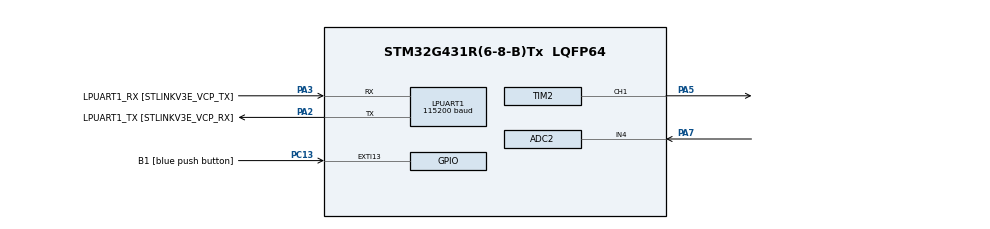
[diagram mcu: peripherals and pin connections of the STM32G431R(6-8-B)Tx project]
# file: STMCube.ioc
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ADC2.Channel-3\#ChannelRegularConversion=ADC_CHANNEL_4
ADC2.ExternalTrigConv=ADC_EXTERNALTRIG_T1_TRGO2
ADC2.NbrOfConversion=1
ADC2.NbrOfConversionFlag=1
ADC2.OffsetNumber-3\#ChannelRegularConversion=ADC_OFFSET_NONE
ADC2.Rank-3\#ChannelRegularConversion=1
ADC2.SamplingTime-3\#ChannelRegularConversion=ADC_SAMPLETIME_2CYCLES_5
FREERTOS.Tasks01=defaultTask,0,128,StartDefaultTask,Default,NULL,Dynamic,NULL,NULL
LPUART1.BaudRate=115200
LPUART1.WordLength=UART_WORDLENGTH_8B
Mcu.Family=STM32G4
Mcu.Name=STM32G431R(6-8-B)Tx
Mcu.Package=LQFP64
NVIC.ADC1_2_IRQn=true\:5\:0\:false\:false\:true\:true\:true\:true\:true
NVIC.PriorityGroup=NVIC_PRIORITYGROUP_4
PA13.GPIO_Label=T_SWDIO
PA13.Mode=Serial_Wire
PA13.Signal=SYS_JTMS-SWDIO
PA14.GPIO_Label=T_SWCLK
PA14.Mode=Serial_Wire
PA14.Signal=SYS_JTCK-SWCLK
PA2.GPIO_Label=LPUART1_TX [STLINKV3E_VCP_RX]
PA2.Mode=Asynchronous
PA2.Signal=LPUART1_TX
PA3.GPIO_Label=LPUART1_RX [STLINKV3E_VCP_TX]
PA3.Mode=Asynchronous
PA3.Signal=LPUART1_RX
PA5.Signal=S_TIM2_CH1
PA7.Mode=IN4-Single-Ended
PA7.Signal=ADC2_IN4
PB3.GPIO_Label=T_SWO
PB3.Signal=SYS_JTDO-SWO
PC13.GPIO_Label=B1 [blue push button]
PC13.Signal=GPXTI13
PC14-OSC32_IN.Mode=LSE-External-Oscillator
PC14-OSC32_IN.Signal=RCC_OSC32_IN
PC15-OSC32_OUT.Mode=LSE-External-Oscillator
PC15-OSC32_OUT.Signal=RCC_OSC32_OUT
PF0-OSC_IN.Mode=HSE-External-Oscillator
PF0-OSC_IN.Signal=RCC_OSC_IN
PF1-OSC_OUT.Mode=HSE-External-Oscillator
PF1-OSC_OUT.Signal=RCC_OSC_OUT
ProjectManager.HeapSize=0x200
ProjectManager.StackSize=0x400
ProjectManager.TargetToolchain=STM32CubeIDE
RCC.ADC12Freq_Value=170000000
RCC.AHBFreq_Value=170000000
RCC.APB1Freq_Value=170000000
RCC.APB1TimFreq_Value=170000000
RCC.APB2Freq_Value=170000000
RCC.APB2TimFreq_Value=170000000
RCC.CortexFreq_Value=170000000
RCC.EXTERNAL_CLOCK_VALUE=12288000
RCC.HCLKFreq_Value=170000000
RCC.HSE_VALUE=24000000
RCC.HSI48_VALUE=48000000
RCC.HSI_VALUE=16000000
RCC.PLLM=RCC_PLLM_DIV6
RCC.PLLN=85
RCC.PLLSourceVirtual=RCC_PLLSOURCE_HSE
RCC.RTCClockSelection=RCC_RTCCLKSOURCE_LSE
RCC.SYSCLKFreq_VALUE=170000000
RCC.SYSCLKSource=RCC_SYSCLKSOURCE_PLLCLK
RCC.USBFreq_Value=170000000
RCC.VCOOutputFreq_Value=340000000
SH.S_TIM2_CH1.0=TIM2_CH1,PWM Generation1 CH1
TIM1.Channel-Output\ Compare1\ No\ Output=TIM_CHANNEL_1
TIM1.TIM_MasterOutputTrigger2=TIM_TRGO2_UPDATE
TIM2.AutoReloadPreload=TIM_AUTORELOAD_PRELOAD_DISABLE
TIM2.Channel-PWM\ Generation1\ CH1=TIM_CHANNEL_1
TIM2.PeriodNoDither=999
TIM2.Prescaler=79
VP_FREERTOS_VS_CMSIS_V1.Mode=CMSIS_V1
VP_SYS_VS_DBSignals.Mode=DisableDeadBatterySignals
VP_TIM1_VS_no_output1.Mode=Output Compare1 No Output
board=NUCLEO-G431RB

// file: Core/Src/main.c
/* USER CODE BEGIN Header */
/**
  ******************************************************************************
  * @file           : main.c
  * @brief          : Main program body
  ******************************************************************************
  * @attention
  *
  * Copyright (c) 2024 STMicroelectronics.
  * All rights reserved.
  *
  * This software is licensed under terms that can be found in the LICENSE file
  * in the root directory of this software component.
  * If no LICENSE file comes with this software, it is provided AS-IS.
  *
  ******************************************************************************
  */
/* USER CODE END Header */
#include "main.h"
#include "adc.h"
#include "usart.h"
#include "tim.h"
#include "gpio.h"

/* USER CODE BEGIN Includes */
// #include "stdbool.h"
/* USER CODE END Includes */

/* USER CODE BEGIN PD */
#define V_REF             3275
#define PWM_COMPARE_MAX   999
#define uxQueueLength     2
#define uxItemSize        4
/* USER CODE END PD */

/* USER CODE BEGIN PV */
QueueHandle_t queueTest;
/* USER CODE END PV */

void SystemClock_Config(void);
void MX_FREERTOS_Init(void);
/* USER CODE BEGIN PFP */
// void TaskPWM(void *pvParameters);
void TaskADC(void *pvParameters);
/* USER CODE END PFP */

int main(void)
{

  /* USER CODE BEGIN 1 */
  // const osThreadDef_t thread_PWM = {
  //       "TaskPWM",
  //       (void const *)TaskPWM,
  //       osPriorityNormal,
  //       1,
  //       128,
  //   };
  // const osThreadDef_t* p_thread_PWM = &thread_PWM;

  const osThreadDef_t thread_ADC = {
        "Task",
        (void const *)TaskADC,
        osPriorityAboveNormal,
        1,
        128,
    };

  const osThreadDef_t* p_thread_ADC = &thread_ADC;
  /* USER CODE END 1 */

  /* MCU Configuration--------------------------------------------------------*/

  /* Reset of all peripherals, Initializes the Flash interface and the Systick. */
  LL_APB2_GRP1_EnableClock(LL_APB2_GRP1_PERIPH_SYSCFG);
  LL_APB1_GRP1_EnableClock(LL_APB1_GRP1_PERIPH_PWR);

  /* System interrupt init*/
  NVIC_SetPriorityGrouping(NVIC_PRIORITYGROUP_4);

  /* PendSV_IRQn interrupt configuration */
  NVIC_SetPriority(PendSV_IRQn, NVIC_EncodePriority(NVIC_GetPriorityGrouping(),15, 0));
  /* SysTick_IRQn interrupt configuration */
  NVIC_SetPriority(SysTick_IRQn, NVIC_EncodePriority(NVIC_GetPriorityGrouping(),15, 0));

  /** Disable the internal Pull-Up in Dead Battery pins of UCPD peripheral
  */
  LL_PWR_DisableUCPDDeadBattery();

  /* Configure the system clock */
  SystemClock_Config();

  /* Initialize all configured peripherals */
  MX_GPIO_Init();
  MX_LPUART1_UART_Init();
  MX_ADC2_Init();
  MX_TIM2_Init();
  MX_TIM1_Init();
  /* USER CODE BEGIN 2 */
  // osThreadCreate(p_thread_PWM, NULL);
  queueTest = xQueueCreate(uxQueueLength, uxItemSize);
  osThreadCreate(p_thread_ADC, NULL);

  LL_ADC_Enable(ADC2);

  LL_TIM_CC_EnableChannel(TIM1, LL_TIM_CHANNEL_CH1);
  LL_TIM_EnableCounter(TIM1);
  LL_TIM_OC_SetCompareCH1(TIM1, 65534);

  LL_TIM_CC_EnableChannel(TIM2, LL_TIM_CHANNEL_CH1);
  LL_TIM_EnableCounter(TIM2);

  LL_ADC_REG_StartConversion(ADC2);
  /* USER CODE END 2 */

  /* Call init function for freertos objects (in cmsis_os2.c) */
  MX_FREERTOS_Init();

  /* Start scheduler */
  osKernelStart();

  /* We should never get here as control is now taken by the scheduler */

  /* Infinite loop */
  while (1)
  {

  }
}

void SystemClock_Config(void)
{
  LL_FLASH_SetLatency(LL_FLASH_LATENCY_4);
  while(LL_FLASH_GetLatency() != LL_FLASH_LATENCY_4)
  {
  }
  LL_PWR_EnableRange1BoostMode();
  LL_RCC_HSE_Enable();
   /* Wait till HSE is ready */
  while(LL_RCC_HSE_IsReady() != 1)
  {
  }

  LL_RCC_PLL_ConfigDomain_SYS(LL_RCC_PLLSOURCE_HSE, LL_RCC_PLLM_DIV_6, 85, LL_RCC_PLLR_DIV_2);
  LL_RCC_PLL_EnableDomain_SYS();
  LL_RCC_PLL_Enable();
   /* Wait till PLL is ready */
  while(LL_RCC_PLL_IsReady() != 1)
  {
  }

  LL_RCC_SetSysClkSource(LL_RCC_SYS_CLKSOURCE_PLL);
  LL_RCC_SetAHBPrescaler(LL_RCC_SYSCLK_DIV_2);
   /* Wait till System clock is ready */
  while(LL_RCC_GetSysClkSource() != LL_RCC_SYS_CLKSOURCE_STATUS_PLL)
  {
  }

  /* Insure 1us transition state at intermediate medium speed clock*/
  for (__IO uint32_t i = (170 >> 1); i !=0; i--);

  /* Set AHB prescaler*/
  LL_RCC_SetAHBPrescaler(LL_RCC_SYSCLK_DIV_1);
  LL_RCC_SetAPB1Prescaler(LL_RCC_APB1_DIV_1);
  LL_RCC_SetAPB2Prescaler(LL_RCC_APB2_DIV_1);

  LL_Init1msTick(170000000);

  LL_SetSystemCoreClock(170000000);
}

/* USER CODE BEGIN 4 */
// void TaskPWM(void *pvParameters)
// {
//   // uint32_t CompareValue = 0;
//   for (;;)
//   {
//   //  if (CompareValue < 999)
//   //  {
//   //    CompareValue += 1;
//   //  }
//   //  else
//   //  {
//   //    CompareValue = 0;
//   //  }
//    vTaskDelay(2);
//   //  LL_TIM_OC_SetCompareCH1(TIM2, CompareValue);
//   }
// }

void TaskADC(void *pvParameters)
{
  /* USER CODE BEGIN 5 */
  uint32_t ADC_data = 0x00000000;
  uint32_t ADC_mVolt = 0;
  uint32_t CompareValue = 0;
  // uint32_t tim1_cnt = 0;
  // uint32_t ADC_IsDisableOngoing;
  // uint32_t ADC2_EXTEN = 0;
  // uint32_t ADC2_cr = 0;

  for(;;)
  {
    // tim1_cnt = LL_TIM_GetCounter(TIM1);
    // ADC_IsDisableOngoing = LL_ADC_IsDisableOngoing(ADC2);
    // ADC2_cr = ADC2->CR;
    // ADC2_EXTEN = LL_ADC_REG_IsTriggerSourceSWStart(ADC2);

    xQueueReceive(queueTest, &ADC_data, 1); // (QueueHandle_t)pvParameters
    ADC_mVolt = __LL_ADC_CALC_DATA_TO_VOLTAGE(V_REF, ADC_data, LL_ADC_RESOLUTION_12B);
    CompareValue = PWM_COMPARE_MAX * ADC_mVolt / V_REF;
    LL_TIM_OC_SetCompareCH1(TIM2, CompareValue);

    vTaskDelay(20);
  }
  /* USER CODE END 5 */
}

QueueHandle_t* GetQueueADC(void)
{
  return &queueTest;
}
/* USER CODE END 4 */

void Error_Handler(void)
{
  __disable_irq();
  while (1)
  {
  }
}
